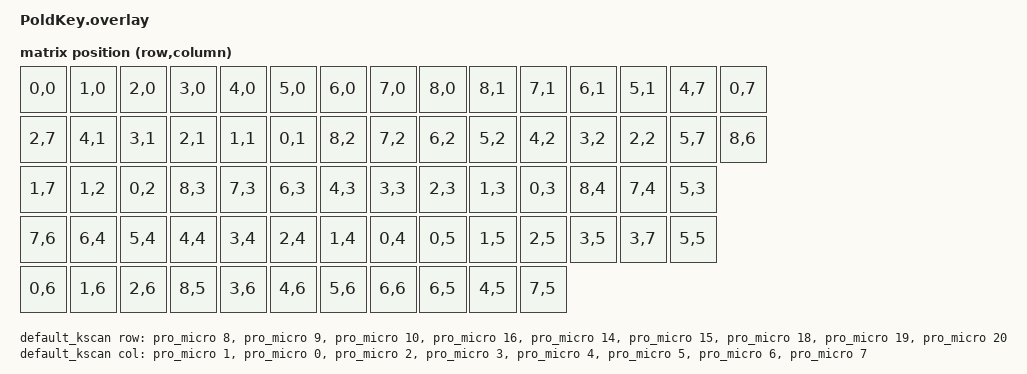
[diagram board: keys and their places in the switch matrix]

#include <dt-bindings/zmk/matrix_transform.h>

/ {
    chosen {
        zmk,kscan = &default_kscan;
        zmk,matrix_transform = &default_transform;

    };

    default_kscan: kscan_0 {
        compatible = "zmk,kscan-gpio-matrix";
        diode-direction = "col2row";

        col-gpios
            = <&pro_micro 1 GPIO_ACTIVE_HIGH>
            , <&pro_micro 0 GPIO_ACTIVE_HIGH>
            , <&pro_micro 2 GPIO_ACTIVE_HIGH>
            , <&pro_micro 3 GPIO_ACTIVE_HIGH>
            , <&pro_micro 4 GPIO_ACTIVE_HIGH>
            , <&pro_micro 5 GPIO_ACTIVE_HIGH>
            , <&pro_micro 6 GPIO_ACTIVE_HIGH>
            , <&pro_micro 7 GPIO_ACTIVE_HIGH>
            ;

        row-gpios
            = <&pro_micro 8 (GPIO_ACTIVE_HIGH | GPIO_PULL_DOWN)>
            , <&pro_micro 9 (GPIO_ACTIVE_HIGH | GPIO_PULL_DOWN)>
            , <&pro_micro 10 (GPIO_ACTIVE_HIGH | GPIO_PULL_DOWN)>
            , <&pro_micro 16 (GPIO_ACTIVE_HIGH | GPIO_PULL_DOWN)>
            , <&pro_micro 14 (GPIO_ACTIVE_HIGH | GPIO_PULL_DOWN)>
            , <&pro_micro 15 (GPIO_ACTIVE_HIGH | GPIO_PULL_DOWN)>
            , <&pro_micro 18 (GPIO_ACTIVE_HIGH | GPIO_PULL_DOWN)>
            , <&pro_micro 19 (GPIO_ACTIVE_HIGH | GPIO_PULL_DOWN)>
            , <&pro_micro 20 (GPIO_ACTIVE_HIGH | GPIO_PULL_DOWN)>
            ;
    };

        default_transform: matrix_transform_0 {
        compatible = "zmk,matrix-transform";
        columns = <8>;
        rows = <9>;
// | MX_1  | MX_2  | MX_3  | MX_4  | MX_5  | MX_6  | MX_7  | MX_8  | MX_9  | MX_10 | MX_11 | MX_12 | MX_13 | MX_68 | MX_64 
// | MX_66 | MX_14 | MX_15 | MX_16 | MX_17 | MX_18 | MX_19 | MX_20 | MX_21 | MX_22 | MX_23 | MX_24 | MX_25 | MX_69 | MX_63 
// | MX_65 | MX_26 | MX_27 | MX_28 | MX_29 | MX_30 | MX_32 | MX_33 | MX_34 | MX_35 | MX_36 | MX_37 | MX_38 | MX_31 
// | MX_62 | MX_39 | MX_40 | MX_41 | MX_42 | MX_43 | MX_44 | MX_45 | MX_46 | MX_47 | MX_48 | MX_49 | MX_67 | MX_51 
// | MX_55 | MX_56 | MX_57 | MX_54 | MX_58 | MX_59 | MX_60 | MX_61 | MX_52 | MX_50 | MX_53 
        map = <
    RC(0,0) RC(1,0) RC(2,0) RC(3,0) RC(4,0) RC(5,0) RC(6,0) RC(7,0) RC(8,0) RC(8,1) RC(7,1) RC(6,1) RC(5,1) RC(4,7) RC(0,7) 
    RC(2,7) RC(4,1) RC(3,1) RC(2,1) RC(1,1) RC(0,1) RC(8,2) RC(7,2) RC(6,2) RC(5,2) RC(4,2) RC(3,2) RC(2,2) RC(5,7) RC(8,6) 
    RC(1,7) RC(1,2) RC(0,2) RC(8,3) RC(7,3) RC(6,3) RC(4,3) RC(3,3) RC(2,3) RC(1,3) RC(0,3) RC(8,4) RC(7,4) RC(5,3) 
    RC(7,6) RC(6,4) RC(5,4) RC(4,4) RC(3,4) RC(2,4) RC(1,4) RC(0,4) RC(0,5) RC(1,5) RC(2,5) RC(3,5) RC(3,7) RC(5,5) 
    RC(0,6) RC(1,6) RC(2,6) RC(8,5) RC(3,6) RC(4,6) RC(5,6) RC(6,6) RC(6,5) RC(4,5) RC(7,5) 
        >;
    };

};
